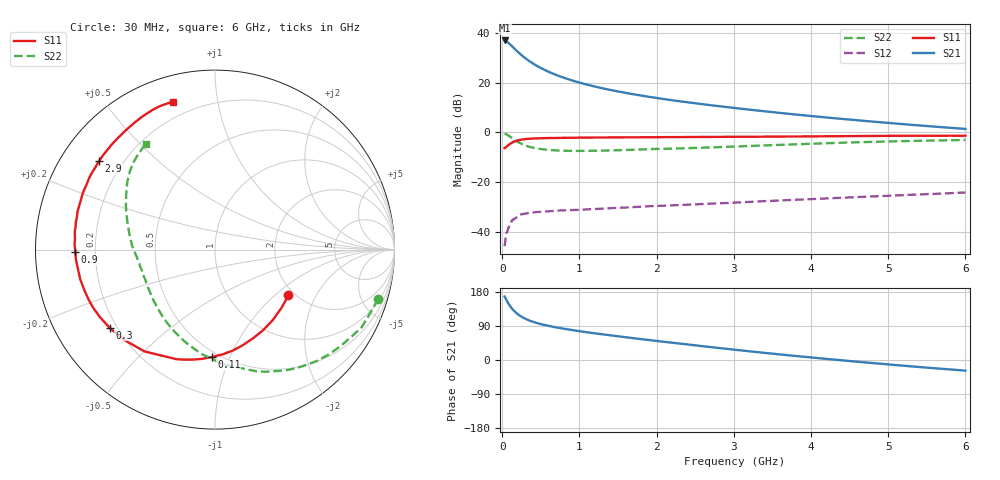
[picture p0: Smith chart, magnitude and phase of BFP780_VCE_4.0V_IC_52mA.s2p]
! Infineon Technologies  Discrete & RF Semiconductors
! BFP780
! VCE =  4.0 V,  IC =  52 mA
! Common Emitter S-Parameters:  Jul 2015
# GHz  S  MA  R  50
!  f  S11  S21  S12  S22
! GHz  MAG  ANG  MAG  ANG  MAG  ANG  MAG  ANG
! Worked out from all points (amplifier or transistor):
!   75 points, 30 MHz to 6 GHz, reference 50 ohm
!   highest |S21| = 37.0 dB at 30 MHz (marker M1)
!   |S21| within 3 dB of that: start of sweep to 148 MHz
!   unconditionally stable (mu >= 1): 1.983 GHz to end of sweep
!   at 150 MHz: K = 0.14, MSG = 34.5 dB, |S12| = -35.0 dB
!   at 2.3 GHz: K = 1.10, MAG = 19.0 dB, |S12| = -29.3 dB
!   at 6 GHz: K = 1.24, MAG = 9.9 dB, |S12| = -24.2 dB
!   S11 on the Smith chart (normalised r, x): 30 MHz: 1.85, -1.23; 110 MHz: 0.46, -0.86; 300 MHz: 0.17, -0.32; 900 MHz: 0.12, -0.01; 2.9 GHz: 0.12, +0.33; 6 GHz: 0.12, +0.75
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0.03  0.4825 -32.0  71.04 167.6  0.0051 67.4  0.95 -16.9
0.05  0.5077 -50.7  68.53 159.4  0.0093 67.7  0.9246 -27.9
0.07  0.5371 -66.6  65.19 152.2  0.0107 61.0  0.8805 -38.0
0.09  0.5716 -80.2  61.38 145.6  0.0128 60.2  0.8416 -47.4
0.11  0.5994 -91.8  57.4 139.7  0.0155 53.8  0.7975 -56.2
0.13  0.6253 -101.4  53.61 134.6  0.0172 48.8  0.7553 -63.7
0.15  0.6473 -109.4  49.96 130.1  0.0177 44.1  0.7193 -70.8
0.2  0.6897 -124.6  42.05 120.9  0.0202 37.3  0.6421 -85.6
0.25  0.7146 -135.4  35.92 114.0  0.0224 33.4  0.5863 -97.5
0.3  0.7312 -143.5  31.04 108.6  0.0232 30.0  0.5433 -107.3
0.4  0.7523 -154.6  24.23 100.6  0.0243 26.2  0.491 -122.1
0.5  0.7613 -162.1  19.75 94.7  0.0251 23.0  0.4604 -132.8
0.7  0.7712 -172.2  14.31 85.9  0.0265 21.1  0.432 -147.5
0.9  0.7785 -179.2  11.17 79.1  0.0272 21.0  0.4229 -157.2
1.1  0.7828 175.3  9.133 73.1  0.0281 20.7  0.4238 -164.3
1.5  0.7907 166.5  6.667 62.6  0.0302 22.1  0.4362 -174.1
2.1  0.8015 155.6  4.672 47.9  0.0333 23.1  0.466 175.7
2.9  0.8126 142.6  3.243 29.6  0.0377 23.6  0.511 162.7
3.1  0.8156 139.6  2.986 25.2  0.0391 23.4  0.5246 159.6
4.1  0.832 125.5  2.065 4.8  0.046 22.3  0.5964 145.8
5.1  0.8526 114.2  1.506 -13.4  0.0537 18.8  0.661 133.8
6  0.8568 106.0  1.174 -28.1  0.0615 14.0  0.7033 123.1
